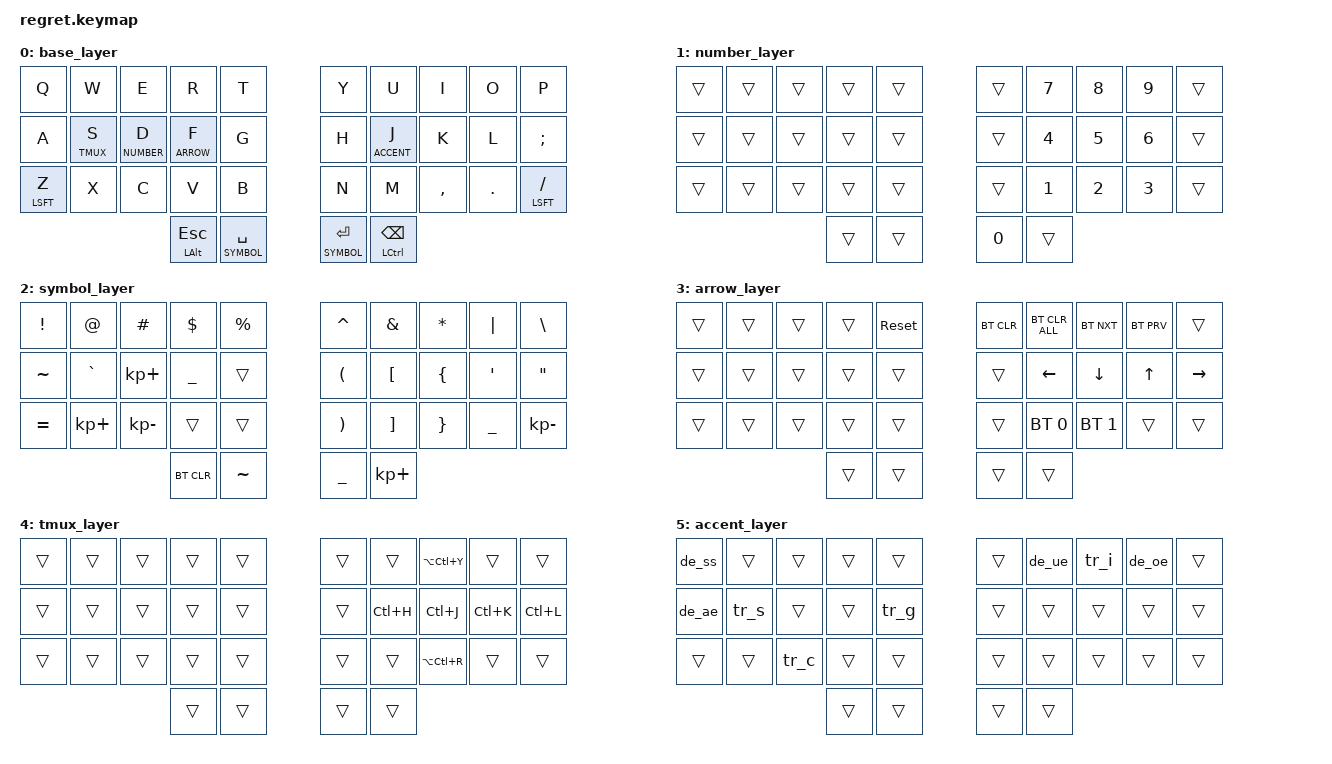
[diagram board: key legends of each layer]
#include <behaviors.dtsi>
#include <dt-bindings/zmk/keys.h>
#include <dt-bindings/zmk/rgb.h>
#include <dt-bindings/zmk/bt.h>
#include <dt-bindings/zmk/ext_power.h>
#include <dt-bindings/zmk/outputs.h>

&mt {
    quick_tap_ms = <200>;
};

&lt {
    quick_tap_ms = <200>;
};

/ {
    combos {
        compatible = "zmk,combos";
        combo_del {
            timeout-ms = <50>;
            key-positions = <15 16>;
            bindings = <&kp BSPC>;
        };
        combo_tab {
            timeout-ms = <50>;
            key-positions = <16 17>;
            bindings = <&kp TAB>;
        };
        combo_alt {
            timeout-ms = <50>;
            key-positions = <25 26>;
            bindings = <&kp LGUI>;
        };
        
        combo_rgb_tog {
            key-positions = <20 29>;
            bindings = <&rgb_ug RGB_TOG>;
        };
    };

    macros {
        // German Characters
        de_ae: de_ae {
            label = "DE_AE";
            compatible = "zmk,behavior-macro";
            #binding-cells = <0>;
            wait-ms = <0>;
            tap-ms = <0>;
            bindings = <&kp RALT &kp U &kp N0 &kp N0 &kp E &kp N4 &kp RET>;  // ä (00E4)
        };
        de_oe: de_oe {
            label = "DE_OE";
            compatible = "zmk,behavior-macro";
            #binding-cells = <0>;
            wait-ms = <0>;
            tap-ms = <0>;
            bindings = <&kp RALT &kp U &kp N0 &kp N0 &kp F &kp N6 &kp RET>;  // ö (00F6)
        };
        de_ue: de_ue {
            label = "DE_UE";
            compatible = "zmk,behavior-macro";
            #binding-cells = <0>;
            wait-ms = <0>;
            tap-ms = <0>;
            bindings = <&kp RALT &kp U &kp N0 &kp N0 &kp F &kp C &kp RET>;  // ü (00FC)
        };
        de_ss: de_ss {
            label = "DE_SS";
            compatible = "zmk,behavior-macro";
            #binding-cells = <0>;
            wait-ms = <0>;
            tap-ms = <0>;
            bindings = <&kp RALT &kp U &kp N0 &kp N0 &kp D &kp F &kp RET>;  // ß (00DF)
        };

        // Turkish Characters
        tr_i: tr_i {
            label = "TR_I";
            compatible = "zmk,behavior-macro";
            #binding-cells = <0>;
            wait-ms = <0>;
            tap-ms = <0>;
            bindings = <&kp RALT &kp U &kp N0 &kp N1 &kp N3 &kp N1 &kp RET>;  // ı (0131)
        };
        tr_g: tr_g {
            label = "TR_G";
            compatible = "zmk,behavior-macro";
            #binding-cells = <0>;
            wait-ms = <0>;
            tap-ms = <0>;
            bindings = <&kp RALT &kp U &kp N0 &kp N1 &kp N1 &kp F &kp RET>;  // ğ (011F)
        };
        tr_s: tr_s {
            label = "TR_S";
            compatible = "zmk,behavior-macro";
            #binding-cells = <0>;
            wait-ms = <0>;
            tap-ms = <0>;
            bindings = <&kp RALT &kp U &kp N0 &kp N1 &kp N5 &kp F &kp RET>;  // ş (015F)
        };
        tr_c: tr_c {
            label = "TR_C";
            compatible = "zmk,behavior-macro";
            #binding-cells = <0>;
            wait-ms = <0>;
            tap-ms = <0>;
            bindings = <&kp RALT &kp U &kp N0 &kp N0 &kp E &kp N7 &kp RET>;  // ç (00E7)
        };
        tr_o: tr_o {
            label = "TR_O";
            compatible = "zmk,behavior-macro";
            #binding-cells = <0>;
            wait-ms = <0>;
            tap-ms = <0>;
            bindings = <&kp RALT &kp U &kp N0 &kp N0 &kp F &kp N6 &kp RET>;  // ö (00F6)
        };
    };

#define BASE 0
#define NUMBER 1
#define SYMBOL 2
#define ARROW 3
#define TMUX 4
#define ACCENT 5

    keymap {
        compatible = "zmk,keymap";
                
        base_layer {
// ┌─────┬─────┬─────┬─────┬─────┐   ┌─────┬─────┬─────┬─────┬─────┐
// │  Q  │  W  │  E  │  R  │  T  │   │  Y  │  U  │  I  │  O  │  P  │
// ├─────┼─────┼─────┼─────┼─────┤   ├─────┼─────┼─────┼─────┼─────┤
// │  A  │S TMX│D NUM│F ARR│  G  │   │  H  │J ACC│  K  │  L  │  ;  │
// ├─────┼─────┼─────┼─────┼─────┤   ├─────┼─────┼─────┼─────┼─────┤
// │Z SFT│  X  │  C  │  V  │  B  │   │  N  │  M  │  ,  │  .  │/ SFT│
// └─────┴─────┴─────┼─────┼─────┤   ├─────┼─────┼─────┴─────┴─────┘
//                   │EALT │SPC  │   │ ENT │BCTL │
//                   │ ESC │ SYM │   │ SYM │BSPC │
//                   └─────┴─────┘   └─────┴─────┘
            bindings = <
                &kp Q         &kp W         &kp E           &kp R           &kp T       &kp Y         &kp U             &kp I         &kp O         &kp P 
                &kp A         &lt TMUX S    &lt NUMBER D   &lt ARROW F    &kp G       &kp H         &lt ACCENT J    &kp K         &kp L         &kp SEMICOLON
                &mt LSFT Z    &kp X         &kp C           &kp V           &kp B       &kp N         &kp M             &kp COMMA     &kp DOT       &mt LSFT SLASH
                                                            &mt LALT ESC    &lt SYMBOL SPACE   &lt SYMBOL ENTER   &mt LCTRL BSPC 
            >;
        };

        number_layer {
// ┌─────┬─────┬─────┬─────┬─────┐   ┌─────┬─────┬─────┬─────┬─────┐
// │     │     │     │     │     │   │     │  7  │  8  │  9  │     │
// ├─────┼─────┼─────┼─────┼─────┤   ├─────┼─────┼─────┼─────┼─────┤
// │     │     │     │     │     │   │     │  4  │  5  │  6  │     │
// ├─────┼─────┼─────┼─────┼─────┤   ├─────┼─────┼─────┼─────┼─────┤
// │     │     │     │     │     │   │     │  1  │  2  │  3  │     │
// └─────┴─────┴─────┼─────┼─────┤   ├─────┼─────┼─────┴─────┴─────┘
//                   │     │     │   │  0  │     │
//                   └─────┴─────┘   └─────┴─────┘
            bindings = <
                &trans        &trans        &trans          &trans          &trans      &trans        &kp N7        &kp N8        &kp N9        &trans     
                &trans        &trans        &trans          &trans          &trans      &trans        &kp N4        &kp N5        &kp N6        &trans 
                &trans        &trans        &trans          &trans          &trans      &trans        &kp N1        &kp N2        &kp N3        &trans
                                                            &trans          &trans      &kp N0        &trans 
            >;
        };
        
        symbol_layer {
// ┌─────┬─────┬─────┬─────┬─────┐   ┌─────┬─────┬─────┬─────┬─────┐
// │  !  │  @  │  #  │  $  │  %  │   │  ^  │  &  │  *  │  |  │  \  │
// ├─────┼─────┼─────┼─────┼─────┤   ├─────┼─────┼─────┼─────┼─────┤
// │  ~  │  `  │  +  │  _  │     │   │  (  │  [  │  {  │  '  │  "  │
// ├─────┼─────┼─────┼─────┼─────┤   ├─────┼─────┼─────┼─────┼─────┤
// │  =  │  +  │  -  │     │     │   │  )  │  ]  │  }  │  _  │  -  │
// └─────┴─────┴─────┼─────┼─────┤   ├─────┼─────┼─────┴─────┴─────┘
//                   │BTCLR│  ~  │   │  _  │  +  │
//                   └─────┴─────┘   └─────┴─────┘
            bindings = <
                &kp EXCL      &kp AT        &kp HASH        &kp DOLLAR      &kp PERCENT    &kp CARET     &kp AMPERSAND &kp ASTERISK  &kp PIPE      &kp BACKSLASH
                &kp TILDE     &kp GRAVE     &kp KP_PLUS     &kp UNDER       &trans         &kp LPAR      &kp LBKT      &kp LBRC      &kp SQT       &kp DQT  
                &kp EQUAL     &kp KP_PLUS   &kp KP_MINUS    &trans          &trans         &kp RPAR      &kp RBKT      &kp RBRC      &kp UNDER     &kp KP_MINUS  
                                                            &bt BT_CLR      &kp TILDE      &kp UNDER     &kp KP_PLUS  
            >;
        };    
        
        arrow_layer {
// ┌─────┬─────┬─────┬─────┬─────┐   ┌─────┬─────┬─────┬─────┬─────┐
// │     │     │     │     │RESET│   │BTCLR│BTALL│BTNXT│BTPRV│     │
// ├─────┼─────┼─────┼─────┼─────┤   ├─────┼─────┼─────┼─────┼─────┤
// │     │     │     │     │     │   │     │  ←  │  ↓  │  ↑  │  →  │
// ├─────┼─────┼─────┼─────┼─────┤   ├─────┼─────┼─────┼─────┼─────┤
// │     │     │     │     │     │   │     │ BT0 │ BT1 │     │     │
// └─────┴─────┴─────┼─────┼─────┤   ├─────┼─────┼─────┴─────┴─────┘
//                   │     │     │   │     │     │
//                   └─────┴─────┘   └─────┴─────┘
            bindings = <
                &trans        &trans        &trans          &trans          &sys_reset     &bt BT_CLR    &bt BT_CLR_ALL &bt BT_NXT   &bt BT_PRV    &trans
                &trans        &trans        &trans          &trans          &trans         &trans        &kp LEFT      &kp DOWN     &kp UP        &kp RIGHT  
                &trans        &trans        &trans          &trans          &trans         &trans        &bt BT_SEL 0  &bt BT_SEL 1 &trans        &trans
                                                            &trans          &trans         &trans        &trans  
            >;
        };    

        tmux_layer {
// ┌─────┬─────┬─────┬─────┬─────┐   ┌─────┬─────┬─────┬─────┬─────┐
// │     │     │     │     │     │   │     │     │C-A-Y│     │     │
// ├─────┼─────┼─────┼─────┼─────┤   ├─────┼─────┼─────┼─────┼─────┤
// │     │     │     │     │     │   │     │ C-H │ C-J │ C-K │ C-L │
// ├─────┼─────┼─────┼─────┼─────┤   ├─────┼─────┼─────┼─────┼─────┤
// │     │     │     │     │     │   │     │     │C-A-R│     │     │
// └─────┴─────┴─────┼─────┼─────┤   ├─────┼─────┼─────┴─────┴─────┘
//                   │     │     │   │     │     │
//                   └─────┴─────┘   └─────┴─────┘
            bindings = <
                &trans        &trans        &trans          &trans          &trans         &trans        &trans        &kp LA(LC(Y)) &trans        &trans     
                &trans        &trans        &trans          &trans          &trans         &trans        &kp LC(H)     &kp LC(J)     &kp LC(K)     &kp LC(L)
                &trans        &trans        &trans          &trans          &trans         &trans        &trans        &kp LA(LC(R)) &trans        &trans 
                                                            &trans          &trans         &trans        &trans  
            >;
        };    

        accent_layer {
// ┌─────┬─────┬─────┬─────┬─────┐   ┌─────┬─────┬─────┬─────┬─────┐
// │  ß  │     │     │     │     │   │     │  ü  │  ı  │  ö  │     │
// ├─────┼─────┼─────┼─────┼─────┤   ├─────┼─────┼─────┼─────┼─────┤
// │  ä  │  ş  │     │     │  ğ  │   │     │     │     │     │     │
// ├─────┼─────┼─────┼─────┼─────┤   ├─────┼─────┼─────┼─────┼─────┤
// │     │     │  ç  │     │     │   │     │     │     │     │     │
// └─────┴─────┴─────┼─────┼─────┤   ├─────┼─────┼─────┴─────┴─────┘
//                   │     │     │   │     │     │
//                   └─────┴─────┘   └─────┴─────┘
            bindings = <
                &de_ss        &trans        &trans          &trans          &trans         &trans        &de_ue        &tr_i         &de_oe        &trans     
                &de_ae        &tr_s         &trans          &trans          &tr_g          &trans        &trans        &trans        &trans        &trans
                &trans        &trans        &tr_c           &trans          &trans         &trans        &trans        &trans        &trans        &trans 
                                                            &trans          &trans         &trans        &trans  
            >;
        };    
    };
};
